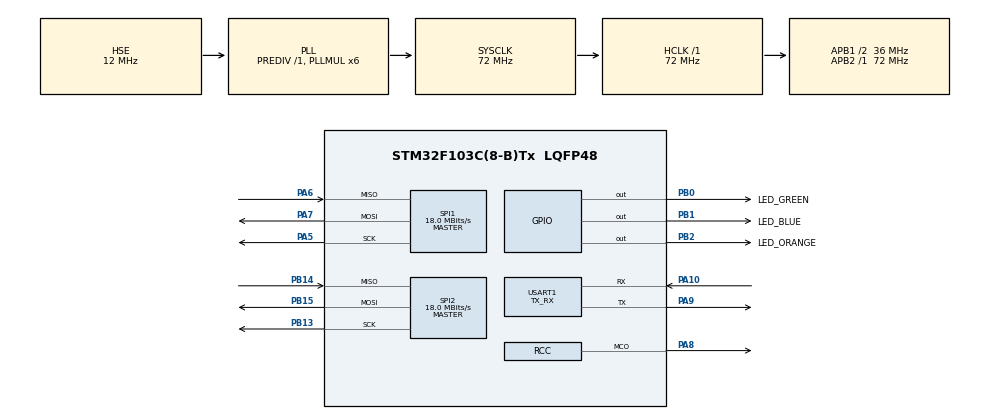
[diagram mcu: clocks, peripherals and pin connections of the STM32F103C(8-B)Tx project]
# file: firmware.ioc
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Mcu.Family=STM32F1
Mcu.Name=STM32F103C(8-B)Tx
Mcu.Package=LQFP48
NVIC.PriorityGroup=NVIC_PRIORITYGROUP_4
NVIC.TIM1_UP_IRQn=true\:0\:0\:false\:false\:true\:false
NVIC.TIM2_IRQn=true\:0\:0\:false\:false\:true\:true
NVIC.TimeBase=TIM1_UP_IRQn
NVIC.TimeBaseIP=TIM1
NVIC.USART1_IRQn=true\:15\:0\:true\:false\:true\:true
PA10.Mode=Asynchronous
PA10.Signal=USART1_RX
PA13.Mode=Serial_Wire
PA13.Signal=SYS_JTMS-SWDIO
PA14.Mode=Serial_Wire
PA14.Signal=SYS_JTCK-SWCLK
PA5.Mode=Full_Duplex_Master
PA5.Signal=SPI1_SCK
PA6.Mode=Full_Duplex_Master
PA6.Signal=SPI1_MISO
PA7.Mode=Full_Duplex_Master
PA7.Signal=SPI1_MOSI
PA8.Mode=Clock-out
PA8.Signal=RCC_MCO
PA9.Mode=Asynchronous
PA9.Signal=USART1_TX
PB0.GPIO_Label=LED_GREEN
PB0.Signal=GPIO_Output
PB1.GPIO_Label=LED_BLUE
PB1.Signal=GPIO_Output
PB13.Mode=Full_Duplex_Master
PB13.Signal=SPI2_SCK
PB14.Mode=Full_Duplex_Master
PB14.Signal=SPI2_MISO
PB15.Mode=Full_Duplex_Master
PB15.Signal=SPI2_MOSI
PB2.GPIO_Label=LED_ORANGE
PB2.Signal=GPIO_Output
PC14-OSC32_IN.Mode=LSE-External-Oscillator
PC14-OSC32_IN.Signal=RCC_OSC32_IN
PC15-OSC32_OUT.Mode=LSE-External-Oscillator
PC15-OSC32_OUT.Signal=RCC_OSC32_OUT
PD0-OSC_IN.Mode=HSE-External-Oscillator
PD0-OSC_IN.Signal=RCC_OSC_IN
PD1-OSC_OUT.Mode=HSE-External-Oscillator
PD1-OSC_OUT.Signal=RCC_OSC_OUT
ProjectManager.HeapSize=0x200
ProjectManager.StackSize=0x400
ProjectManager.TargetToolchain=Makefile
RCC.AHBFreq_Value=72000000
RCC.APB1CLKDivider=RCC_HCLK_DIV2
RCC.APB1Freq_Value=36000000
RCC.APB1TimFreq_Value=72000000
RCC.APB2Freq_Value=72000000
RCC.APB2TimFreq_Value=72000000
RCC.EnbaleCSS=true
RCC.HCLKFreq_Value=72000000
RCC.HSE_VALUE=12000000
RCC.PLLMUL=RCC_PLL_MUL6
RCC.PLLSourceVirtual=RCC_PLLSOURCE_HSE
RCC.RCC_MCOSource=RCC_MCO1SOURCE_HSE
RCC.RTCClockSelection=RCC_RTCCLKSOURCE_LSE
RCC.SYSCLKFreq_VALUE=72000000
RCC.SYSCLKSource=RCC_SYSCLKSOURCE_PLLCLK
RCC.USBFreq_Value=72000000
SPI1.BaudRatePrescaler=SPI_BAUDRATEPRESCALER_4
SPI1.CalculateBaudRate=18.0 MBits/s
SPI1.Direction=SPI_DIRECTION_2LINES
SPI1.Mode=SPI_MODE_MASTER
SPI1.VirtualType=VM_MASTER
SPI2.BaudRatePrescaler=SPI_BAUDRATEPRESCALER_2
SPI2.CalculateBaudRate=18.0 MBits/s
SPI2.Direction=SPI_DIRECTION_2LINES
SPI2.Mode=SPI_MODE_MASTER
SPI2.VirtualType=VM_MASTER
TIM2.Period=2048
USART1.Mode=MODE_TX_RX
USART1.VirtualMode=VM_ASYNC
VP_RTC_VS_RTC_Activate.Mode=RTC_Enabled
VP_SYS_VS_tim1.Mode=TIM1
VP_TIM2_VS_ClockSourceINT.Mode=Internal
board=custom

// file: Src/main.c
/**
  ******************************************************************************
  * @file           : main.c
  * @brief          : Main program body
  ******************************************************************************
  ** This notice applies to any and all portions of this file
  * that are not between comment pairs USER CODE BEGIN and
  * USER CODE END. Other portions of this file, whether
  * inserted by the user or by software development tools
  * are owned by their respective copyright owners.
  *
  * COPYRIGHT(c) 2018 STMicroelectronics
  *
  * Redistribution and use in source and binary forms, with or without modification,
  * are permitted provided that the following conditions are met:
  *   1. Redistributions of source code must retain the above copyright notice,
  *      this list of conditions and the following disclaimer.
  *   2. Redistributions in binary form must reproduce the above copyright notice,
  *      this list of conditions and the following disclaimer in the documentation
  *      and/or other materials provided with the distribution.
  *   3. Neither the name of STMicroelectronics nor the names of its contributors
  *      may be used to endorse or promote products derived from this software
  *      without specific prior written permission.
  *
  * THIS SOFTWARE IS PROVIDED BY THE COPYRIGHT HOLDERS AND CONTRIBUTORS "AS IS"
  * AND ANY EXPRESS OR IMPLIED WARRANTIES, INCLUDING, BUT NOT LIMITED TO, THE
  * IMPLIED WARRANTIES OF MERCHANTABILITY AND FITNESS FOR A PARTICULAR PURPOSE ARE
  * DISCLAIMED. IN NO EVENT SHALL THE COPYRIGHT HOLDER OR CONTRIBUTORS BE LIABLE
  * FOR ANY DIRECT, INDIRECT, INCIDENTAL, SPECIAL, EXEMPLARY, OR CONSEQUENTIAL
  * DAMAGES (INCLUDING, BUT NOT LIMITED TO, PROCUREMENT OF SUBSTITUTE GOODS OR
  * SERVICES; LOSS OF USE, DATA, OR PROFITS; OR BUSINESS INTERRUPTION) HOWEVER
  * CAUSED AND ON ANY THEORY OF LIABILITY, WHETHER IN CONTRACT, STRICT LIABILITY,
  * OR TORT (INCLUDING NEGLIGENCE OR OTHERWISE) ARISING IN ANY WAY OUT OF THE USE
  * OF THIS SOFTWARE, EVEN IF ADVISED OF THE POSSIBILITY OF SUCH DAMAGE.
  *
  ******************************************************************************
  */
#include "main.h"
#include "stm32f1xx_hal.h"

/* USER CODE BEGIN Includes */
#include <stdio.h>
#include "os.h"
#include "cli/cli.h"
#include "leds/leds.h"
/* USER CODE END Includes */

RTC_HandleTypeDef hrtc;

SPI_HandleTypeDef hspi1;
SPI_HandleTypeDef hspi2;

TIM_HandleTypeDef htim2;

UART_HandleTypeDef huart1;

/* USER CODE BEGIN PV */
/* Private variables ---------------------------------------------------------*/

/* USER CODE END PV */

void SystemClock_Config(void);
static void MX_GPIO_Init(void);
static void MX_USART1_UART_Init(void);
static void MX_RTC_Init(void);
static void MX_SPI1_Init(void);
static void MX_SPI2_Init(void);
static void MX_TIM2_Init(void);

/* USER CODE BEGIN PFP */
/* Private function prototypes -----------------------------------------------*/

/* USER CODE END PFP */

/* USER CODE BEGIN 0 */
void vTaskCode( void * pvParameters )
{
    /* The parameter value is expected to be 1 as 1 is passed in the
    pvParameters value in the call to xTaskCreate() below.
    configASSERT( ( ( uint32_t ) pvParameters ) == 1 );*/

    Leds_config_t cfg;
    Led_config_t c;
    c.port = LED_GREEN_GPIO_Port;
    c.pin = LED_GREEN_Pin;
    cfg.player = c;
    c.port = LED_ORANGE_GPIO_Port;
    c.pin = LED_ORANGE_Pin;
    cfg.network = c;
    c.port = LED_BLUE_GPIO_Port;
    c.pin = LED_BLUE_Pin;
    cfg.power = c;
    leds_init(cfg);

    leds_blink(LEDS_PLAYER);
    leds_on(LEDS_PLAYER);
    leds_blink(LEDS_NETWORK);

    for( ;; )
    {
      //printf("%lu\n", get_runtime_stats_timer_value());
      //time_t current_time = time(NULL);
  //    printf("posix time: %s", ctime(&current_time));
      os_delay(1234);

        /* Task code goes here. */
    }
}
/* USER CODE END 0 */

int main(void)
{

  /* MCU Configuration----------------------------------------------------------*/

  /* Reset of all peripherals, Initializes the Flash interface and the Systick. */
  HAL_Init();

  /* Configure the system clock */
  SystemClock_Config();

  /* Initialize all configured peripherals */
  MX_GPIO_Init();
  MX_USART1_UART_Init();
  MX_RTC_Init();
  MX_SPI1_Init();
  MX_SPI2_Init();
  MX_TIM2_Init();
  /* USER CODE BEGIN 2 */
  TaskHandle_t xHandle = NULL;
  xTaskCreate(
  vTaskCode,       /* Function that implements the task. */
  "NAME",          /* Text name for the task. */
  configMINIMAL_STACK_SIZE,      /* Stack size in words, not bytes. */
  NULL,    /* Parameter passed into the task. */
  tskIDLE_PRIORITY,/* Priority at which the task is created. */
  &xHandle );      /**/

  clock_init(&hrtc);
  cli_init(&huart1);

  vTaskStartScheduler();
  /* USER CODE END 2 */

  /* Infinite loop */
  while (1)
  {

  }

}

void SystemClock_Config(void)
{

  RCC_OscInitTypeDef RCC_OscInitStruct;
  RCC_ClkInitTypeDef RCC_ClkInitStruct;
  RCC_PeriphCLKInitTypeDef PeriphClkInit;

    /**Initializes the CPU, AHB and APB busses clocks
    */
  RCC_OscInitStruct.OscillatorType = RCC_OSCILLATORTYPE_HSE|RCC_OSCILLATORTYPE_LSE;
  RCC_OscInitStruct.HSEState = RCC_HSE_ON;
  RCC_OscInitStruct.HSEPredivValue = RCC_HSE_PREDIV_DIV1;
  RCC_OscInitStruct.LSEState = RCC_LSE_ON;
  RCC_OscInitStruct.HSIState = RCC_HSI_ON;
  RCC_OscInitStruct.PLL.PLLState = RCC_PLL_ON;
  RCC_OscInitStruct.PLL.PLLSource = RCC_PLLSOURCE_HSE;
  RCC_OscInitStruct.PLL.PLLMUL = RCC_PLL_MUL6;
  if (HAL_RCC_OscConfig(&RCC_OscInitStruct) != HAL_OK)
  {
    _Error_Handler(__FILE__, __LINE__);
  }

    /**Initializes the CPU, AHB and APB busses clocks
    */
  RCC_ClkInitStruct.ClockType = RCC_CLOCKTYPE_HCLK|RCC_CLOCKTYPE_SYSCLK
                              |RCC_CLOCKTYPE_PCLK1|RCC_CLOCKTYPE_PCLK2;
  RCC_ClkInitStruct.SYSCLKSource = RCC_SYSCLKSOURCE_PLLCLK;
  RCC_ClkInitStruct.AHBCLKDivider = RCC_SYSCLK_DIV1;
  RCC_ClkInitStruct.APB1CLKDivider = RCC_HCLK_DIV2;
  RCC_ClkInitStruct.APB2CLKDivider = RCC_HCLK_DIV1;

  if (HAL_RCC_ClockConfig(&RCC_ClkInitStruct, FLASH_LATENCY_2) != HAL_OK)
  {
    _Error_Handler(__FILE__, __LINE__);
  }

  PeriphClkInit.PeriphClockSelection = RCC_PERIPHCLK_RTC;
  PeriphClkInit.RTCClockSelection = RCC_RTCCLKSOURCE_LSE;
  if (HAL_RCCEx_PeriphCLKConfig(&PeriphClkInit) != HAL_OK)
  {
    _Error_Handler(__FILE__, __LINE__);
  }

  HAL_RCC_MCOConfig(RCC_MCO, RCC_MCO1SOURCE_HSE, RCC_MCODIV_1);

    /**Enables the Clock Security System
    */
  HAL_RCC_EnableCSS();

    /**Configure the Systick interrupt time
    */
  HAL_SYSTICK_Config(HAL_RCC_GetHCLKFreq()/1000);

    /**Configure the Systick
    */
  HAL_SYSTICK_CLKSourceConfig(SYSTICK_CLKSOURCE_HCLK);

  /* SysTick_IRQn interrupt configuration */
  HAL_NVIC_SetPriority(SysTick_IRQn, 15, 0);
}

/* RTC init function */
static void MX_RTC_Init(void)
{

    /**Initialize RTC Only
    */
  hrtc.Instance = RTC;
  hrtc.Init.AsynchPrediv = RTC_AUTO_1_SECOND;
  hrtc.Init.OutPut = RTC_OUTPUTSOURCE_ALARM;
  if (HAL_RTC_Init(&hrtc) != HAL_OK)
  {
    _Error_Handler(__FILE__, __LINE__);
  }

}

/* SPI1 init function */
static void MX_SPI1_Init(void)
{

  /* SPI1 parameter configuration*/
  hspi1.Instance = SPI1;
  hspi1.Init.Mode = SPI_MODE_MASTER;
  hspi1.Init.Direction = SPI_DIRECTION_2LINES;
  hspi1.Init.DataSize = SPI_DATASIZE_8BIT;
  hspi1.Init.CLKPolarity = SPI_POLARITY_LOW;
  hspi1.Init.CLKPhase = SPI_PHASE_1EDGE;
  hspi1.Init.NSS = SPI_NSS_SOFT;
  hspi1.Init.BaudRatePrescaler = SPI_BAUDRATEPRESCALER_4;
  hspi1.Init.FirstBit = SPI_FIRSTBIT_MSB;
  hspi1.Init.TIMode = SPI_TIMODE_DISABLE;
  hspi1.Init.CRCCalculation = SPI_CRCCALCULATION_DISABLE;
  hspi1.Init.CRCPolynomial = 10;
  if (HAL_SPI_Init(&hspi1) != HAL_OK)
  {
    _Error_Handler(__FILE__, __LINE__);
  }

}

/* SPI2 init function */
static void MX_SPI2_Init(void)
{

  /* SPI2 parameter configuration*/
  hspi2.Instance = SPI2;
  hspi2.Init.Mode = SPI_MODE_MASTER;
  hspi2.Init.Direction = SPI_DIRECTION_2LINES;
  hspi2.Init.DataSize = SPI_DATASIZE_8BIT;
  hspi2.Init.CLKPolarity = SPI_POLARITY_LOW;
  hspi2.Init.CLKPhase = SPI_PHASE_1EDGE;
  hspi2.Init.NSS = SPI_NSS_SOFT;
  hspi2.Init.BaudRatePrescaler = SPI_BAUDRATEPRESCALER_2;
  hspi2.Init.FirstBit = SPI_FIRSTBIT_MSB;
  hspi2.Init.TIMode = SPI_TIMODE_DISABLE;
  hspi2.Init.CRCCalculation = SPI_CRCCALCULATION_DISABLE;
  hspi2.Init.CRCPolynomial = 10;
  if (HAL_SPI_Init(&hspi2) != HAL_OK)
  {
    _Error_Handler(__FILE__, __LINE__);
  }

}

/* TIM2 init function */
static void MX_TIM2_Init(void)
{

  TIM_ClockConfigTypeDef sClockSourceConfig;
  TIM_MasterConfigTypeDef sMasterConfig;

  htim2.Instance = TIM2;
  htim2.Init.Prescaler = 0;
  htim2.Init.CounterMode = TIM_COUNTERMODE_UP;
  htim2.Init.Period = 2048;
  htim2.Init.ClockDivision = TIM_CLOCKDIVISION_DIV1;
  htim2.Init.AutoReloadPreload = TIM_AUTORELOAD_PRELOAD_DISABLE;
  if (HAL_TIM_Base_Init(&htim2) != HAL_OK)
  {
    _Error_Handler(__FILE__, __LINE__);
  }

  sClockSourceConfig.ClockSource = TIM_CLOCKSOURCE_INTERNAL;
  if (HAL_TIM_ConfigClockSource(&htim2, &sClockSourceConfig) != HAL_OK)
  {
    _Error_Handler(__FILE__, __LINE__);
  }

  sMasterConfig.MasterOutputTrigger = TIM_TRGO_RESET;
  sMasterConfig.MasterSlaveMode = TIM_MASTERSLAVEMODE_DISABLE;
  if (HAL_TIMEx_MasterConfigSynchronization(&htim2, &sMasterConfig) != HAL_OK)
  {
    _Error_Handler(__FILE__, __LINE__);
  }

}

/* USART1 init function */
static void MX_USART1_UART_Init(void)
{

  huart1.Instance = USART1;
  huart1.Init.BaudRate = 115200;
  huart1.Init.WordLength = UART_WORDLENGTH_8B;
  huart1.Init.StopBits = UART_STOPBITS_1;
  huart1.Init.Parity = UART_PARITY_NONE;
  huart1.Init.Mode = UART_MODE_TX_RX;
  huart1.Init.HwFlowCtl = UART_HWCONTROL_NONE;
  huart1.Init.OverSampling = UART_OVERSAMPLING_16;
  if (HAL_UART_Init(&huart1) != HAL_OK)
  {
    _Error_Handler(__FILE__, __LINE__);
  }

}

/** Configure pins as
        * Analog
        * Input
        * Output
        * EVENT_OUT
        * EXTI
     PA8   ------> RCC_MCO
*/
static void MX_GPIO_Init(void)
{

  GPIO_InitTypeDef GPIO_InitStruct;

  /* GPIO Ports Clock Enable */
  __HAL_RCC_GPIOC_CLK_ENABLE();
  __HAL_RCC_GPIOD_CLK_ENABLE();
  __HAL_RCC_GPIOA_CLK_ENABLE();
  __HAL_RCC_GPIOB_CLK_ENABLE();

  /*Configure GPIO pin Output Level */
  HAL_GPIO_WritePin(GPIOB, LED_GREEN_Pin|LED_BLUE_Pin|LED_ORANGE_Pin, GPIO_PIN_RESET);

  /*Configure GPIO pins : LED_GREEN_Pin LED_BLUE_Pin LED_ORANGE_Pin */
  GPIO_InitStruct.Pin = LED_GREEN_Pin|LED_BLUE_Pin|LED_ORANGE_Pin;
  GPIO_InitStruct.Mode = GPIO_MODE_OUTPUT_PP;
  GPIO_InitStruct.Pull = GPIO_NOPULL;
  GPIO_InitStruct.Speed = GPIO_SPEED_FREQ_LOW;
  HAL_GPIO_Init(GPIOB, &GPIO_InitStruct);

  /*Configure GPIO pin : PA8 */
  GPIO_InitStruct.Pin = GPIO_PIN_8;
  GPIO_InitStruct.Mode = GPIO_MODE_AF_PP;
  GPIO_InitStruct.Speed = GPIO_SPEED_FREQ_LOW;
  HAL_GPIO_Init(GPIOA, &GPIO_InitStruct);

}

/* USER CODE BEGIN 4 */
void vApplicationStackOverflowHook(TaskHandle_t *xTask, signed char *pcTaskName) {
   /* Run time stack overflow checking is performed if
   configCHECK_FOR_STACK_OVERFLOW is defined to 1 or 2. This hook function is
   called if a stack overflow is detected. */
   if(pcTaskName) {
     printf("panic: stack overflow in %s\n", pcTaskName);
   } else {
     printf("panic: stack overflow\n");
   }
   while(true) {}
}

void vApplicationIdleHook( void ) {
  // kick wdt
  // sleep?
}

void vApplicationMallocFailedHook(void) {
   /* vApplicationMallocFailedHook() will only be called if
   configUSE_MALLOC_FAILED_HOOK is set to 1 in FreeRTOSConfig.h. It is a hook
   function that will get called if a call to pvPortMalloc() fails.
   pvPortMalloc() is called internally by the kernel whenever a task, queue,
   timer or semaphore is created. It is also called by various parts of the
   demo application. If heap_1.c or heap_2.c are used, then the size of the
   heap available to pvPortMalloc() is defined by configTOTAL_HEAP_SIZE in
   FreeRTOSConfig.h, and the xPortGetFreeHeapSize() API function can be used
   to query the size of free heap space that remains (although it does not
   provide information on how the remaining heap might be fragmented). */
   printf("panic: malloc failed\n");
   while(true) {}
}

void HAL_UART_RxCpltCallback(UART_HandleTypeDef *huart) {
  if (huart->Instance == USART1) {
    cli_received_callback();
  }
}

#if configGENERATE_RUN_TIME_STATS == 1
static volatile uint32_t runtime_stats_counter = 0;
void start_runtime_stats_timer() {
  HAL_TIM_Base_Start_IT(&htim2);
}

uint32_t get_runtime_stats_timer_value() {
  return runtime_stats_counter;
}
#endif
/* USER CODE END 4 */

void HAL_TIM_PeriodElapsedCallback(TIM_HandleTypeDef *htim)
{
  if (htim->Instance == TIM1) {
    HAL_IncTick();
  }
  /* USER CODE BEGIN Callback 1 */
  if (htim->Instance == TIM2) {
#if configGENERATE_RUN_TIME_STATS == 1
    runtime_stats_counter++;
#endif
  }
  /* USER CODE END Callback 1 */
}

void _Error_Handler(char *file, int line)
{
  /* USER CODE BEGIN Error_Handler_Debug */
  /* User can add his own implementation to report the HAL error return state */
  printf("panic: error in %s at line %i\n", file, line);
  while(1)
  {
  }
  /* USER CODE END Error_Handler_Debug */
}

#ifdef  USE_FULL_ASSERT
/**
  * @brief  Reports the name of the source file and the source line number
  *         where the assert_param error has occurred.
  * @param  file: pointer to the source file name
  * @param  line: assert_param error line source number
  * @retval None
  */
void assert_failed(uint8_t* file, uint32_t line)
{
  /* USER CODE BEGIN 6 */
  /* User can add his own implementation to report the file name and line number,
     tex: printf("Wrong parameters value: file %s on line %d\r\n", file, line) */
  printf("assert failed in %s at line %lu\n", file, line);
  /* USER CODE END 6 */
}
#endif /* USE_FULL_ASSERT */

/************************ (C) COPYRIGHT STMicroelectronics *****END OF FILE****/

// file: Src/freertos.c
/* USER CODE BEGIN Header */
/**
  ******************************************************************************
  * File Name          : freertos.c
  * Description        : Code for freertos applications
  ******************************************************************************
  * This notice applies to any and all portions of this file
  * that are not between comment pairs USER CODE BEGIN and
  * USER CODE END. Other portions of this file, whether
  * inserted by the user or by software development tools
  * are owned by their respective copyright owners.
  *
  * Copyright (c) 2018 STMicroelectronics International N.V.
  * All rights reserved.
  *
  * Redistribution and use in source and binary forms, with or without
  * modification, are permitted, provided that the following conditions are met:
  *
  * 1. Redistribution of source code must retain the above copyright notice,
  *    this list of conditions and the following disclaimer.
  * 2. Redistributions in binary form must reproduce the above copyright notice,
  *    this list of conditions and the following disclaimer in the documentation
  *    and/or other materials provided with the distribution.
  * 3. Neither the name of STMicroelectronics nor the names of other
  *    contributors to this software may be used to endorse or promote products
  *    derived from this software without specific written permission.
  * 4. This software, including modifications and/or derivative works of this
  *    software, must execute solely and exclusively on microcontroller or
  *    microprocessor devices manufactured by or for STMicroelectronics.
  * 5. Redistribution and use of this software other than as permitted under
  *    this license is void and will automatically terminate your rights under
  *    this license.
  *
  * THIS SOFTWARE IS PROVIDED BY STMICROELECTRONICS AND CONTRIBUTORS "AS IS"
  * AND ANY EXPRESS, IMPLIED OR STATUTORY WARRANTIES, INCLUDING, BUT NOT
  * LIMITED TO, THE IMPLIED WARRANTIES OF MERCHANTABILITY, FITNESS FOR A
  * PARTICULAR PURPOSE AND NON-INFRINGEMENT OF THIRD PARTY INTELLECTUAL PROPERTY
  * RIGHTS ARE DISCLAIMED TO THE FULLEST EXTENT PERMITTED BY LAW. IN NO EVENT
  * SHALL STMICROELECTRONICS OR CONTRIBUTORS BE LIABLE FOR ANY DIRECT, INDIRECT,
  * INCIDENTAL, SPECIAL, EXEMPLARY, OR CONSEQUENTIAL DAMAGES (INCLUDING, BUT NOT
  * LIMITED TO, PROCUREMENT OF SUBSTITUTE GOODS OR SERVICES; LOSS OF USE, DATA,
  * OR PROFITS; OR BUSINESS INTERRUPTION) HOWEVER CAUSED AND ON ANY THEORY OF
  * LIABILITY, WHETHER IN CONTRACT, STRICT LIABILITY, OR TORT (INCLUDING
  * NEGLIGENCE OR OTHERWISE) ARISING IN ANY WAY OUT OF THE USE OF THIS SOFTWARE,
  * EVEN IF ADVISED OF THE POSSIBILITY OF SUCH DAMAGE.
  *
  ******************************************************************************
  */
/* USER CODE END Header */

#include "FreeRTOS.h"
#include "task.h"
#include "main.h"

/* USER CODE BEGIN Includes */
#include <stdio.h>
/* USER CODE END Includes */

/* Hook prototypes */
void vApplicationStackOverflowHook(TaskHandle_t xTask, signed char *pcTaskName);
void vApplicationMallocFailedHook(void);

/* USER CODE BEGIN 4 */
void vApplicationStackOverflowHook(TaskHandle_t xTask, signed char *pcTaskName)
{
   /* Run time stack overflow checking is performed if
   configCHECK_FOR_STACK_OVERFLOW is defined to 1 or 2. This hook function is
   called if a stack overflow is detected. */
   if(pcTaskName) {
     printf("panic: stack overflow in %s\n", pcTaskName);
   } else {
     printf("panic: stack overflow\n");
   }
   while(true) {}
}
/* USER CODE END 4 */

/* USER CODE BEGIN 5 */
void vApplicationMallocFailedHook(void)
{
   /* vApplicationMallocFailedHook() will only be called if
   configUSE_MALLOC_FAILED_HOOK is set to 1 in FreeRTOSConfig.h. It is a hook
   function that will get called if a call to pvPortMalloc() fails.
   pvPortMalloc() is called internally by the kernel whenever a task, queue,
   timer or semaphore is created. It is also called by various parts of the
   demo application. If heap_1.c or heap_2.c are used, then the size of the
   heap available to pvPortMalloc() is defined by configTOTAL_HEAP_SIZE in
   FreeRTOSConfig.h, and the xPortGetFreeHeapSize() API function can be used
   to query the size of free heap space that remains (although it does not
   provide information on how the remaining heap might be fragmented). */
   printf("panic: malloc failed\n");
   while(true) {}
}
/* USER CODE END 5 */

/************************ (C) COPYRIGHT STMicroelectronics *****END OF FILE****/
